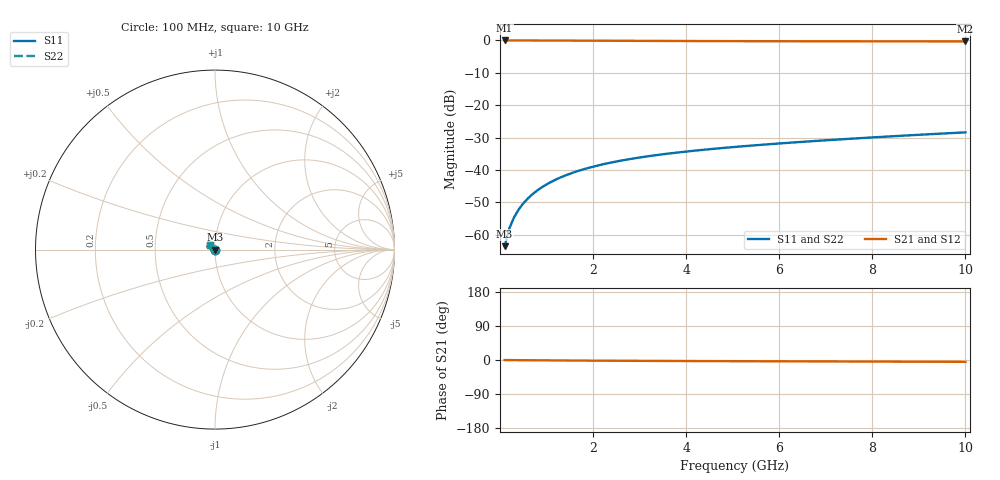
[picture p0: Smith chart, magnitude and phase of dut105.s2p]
! Touchstone file exported from HFSS 2024.1.0
!  File:  C:/UserFiles/LocalFiles/RDL_TSV_Batchsim/temp_TSV1_105_1779377397.aedt
!  Generated:  11:35:37 PM May 21, 2026
!  Design:  TSV1
!  Project:  temp_TSV1_105_1779377397
!  Setup:  Setup1
!  Solution:  Sweep
! Variables:
!  dtsv = 6.89um
!  hbump = 3um
!  htsv = 68.2um
!  lrdl = 252.1521522um
!  p = 40
!  p1 = 58.71um
!  t = 500um
!  trdl = 3um
!  wrdl = 24.89489489um
# GHz S MA R 50.000000
! Terminal data exported
! Port[1] = TSV22_T1
! Port[2] = TSV22_T2
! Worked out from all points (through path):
!   100 points, 100 MHz to 10 GHz, reference 50 ohm
!   highest |S21| = 0.00 dB at 100 MHz (marker M1); lowest = -0.3 dB at 10 GHz (marker M2)
!   lowest |S11| = -63.5 dB at 100 MHz (marker M3), VSWR 1.00, Z = 50 - j0.0622 ohm
!   |S11| at or under -10 dB: start of sweep to end of sweep
!   |S22| runs from -63.5 to -28.4 dB; largest |S21 - S12| = 3.2e-15
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0.1  0.0006682 -68.4  0.9997 -0.1  0.9997 -0.1  0.0006682 -68.4
! Gamma 0 0 0 0
! Port Impedance 50 0 50 0
0.2  0.001249 -82.5  0.9996 -0.2  0.9996 -0.2  0.001249 -82.5
0.3  0.001847 -89.2  0.9995 -0.3  0.9995 -0.3  0.001847 -89.2
0.4  0.002449 -93.9  0.9993 -0.4  0.9993 -0.4  0.002449 -93.9
0.5  0.003049 -97.7  0.999 -0.5  0.999 -0.5  0.003049 -97.7
0.6  0.003647 -101.1  0.9987 -0.6  0.9987 -0.6  0.003647 -101.1
0.7  0.004242 -104.1  0.9983 -0.7  0.9983 -0.7  0.004242 -104.1
0.8  0.004831 -107.1  0.9979 -0.8  0.9979 -0.8  0.004831 -107.1
0.9  0.005414 -109.8  0.9975 -0.9  0.9975 -0.9  0.005414 -109.8
1.1  0.006559 -115.1  0.9965 -1.0  0.9965 -1.0  0.006559 -115.1
1.4  0.008214 -122.5  0.9949 -1.3  0.9949 -1.3  0.008214 -122.5
1.6  0.009269 -127.1  0.9937 -1.4  0.9937 -1.4  0.009269 -127.1
1.8  0.01029 -131.6  0.9924 -1.6  0.9924 -1.6  0.01029 -131.6
2.1  0.01174 -137.9  0.9905 -1.8  0.9905 -1.8  0.01174 -137.9
2.5  0.01354 -145.8  0.988 -2.0  0.988 -2.0  0.01354 -145.8
2.9  0.01521 -153.1  0.9855 -2.2  0.9855 -2.2  0.01521 -153.1
3.4  0.01713 -161.4  0.9827 -2.5  0.9827 -2.5  0.01713 -161.4
4.2  0.01995 -173.0  0.9789 -2.8  0.9789 -2.8  0.01995 -173.0
5.1  0.02289 176.0  0.9755 -3.1  0.9755 -3.1  0.02289 176.0
6.7  0.02785 160.7  0.9712 -3.7  0.9712 -3.7  0.02785 160.7
8.4  0.03309 148.6  0.9683 -4.3  0.9683 -4.3  0.03309 148.6
10  0.03814 139.9  0.9663 -4.8  0.9663 -4.8  0.03815 139.9
